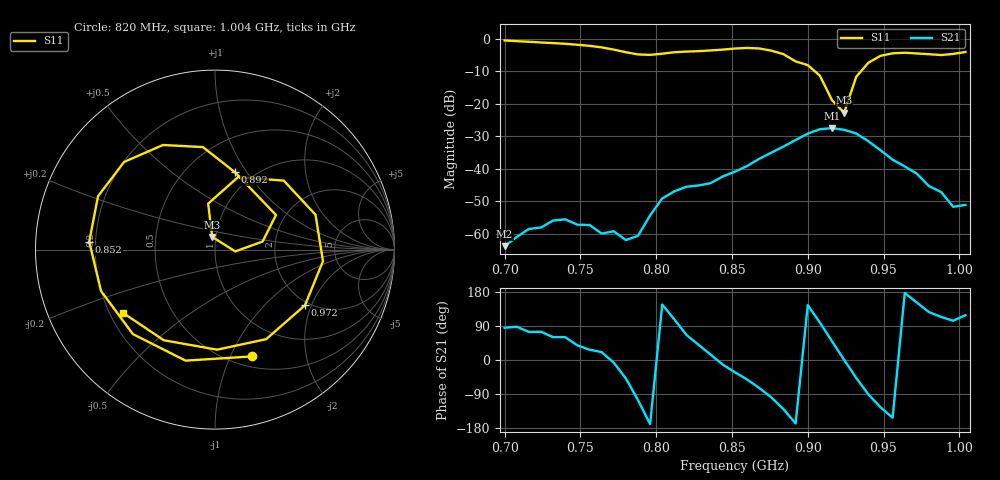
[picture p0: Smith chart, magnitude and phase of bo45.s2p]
# Hz S RI R 50
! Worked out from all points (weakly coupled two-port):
!   39 points, 700 MHz to 1.004 GHz, reference 50 ohm
!   highest |S21| = -27.49 dB at 916 MHz (marker M1); lowest = -63.7 dB at 700 MHz (marker M2)
!   lowest |S11| = -22.8 dB at 924 MHz (marker M3), VSWR 1.16, Z = 48 + j6.85 ohm
!   |S11| at or under -10 dB: 904.5 MHz to 935.2 MHz (30.7 MHz wide, 3.34 % of centre)
!   S12 and S22 are empty: the file has one direction only
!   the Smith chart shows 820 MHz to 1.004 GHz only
!   S11 on the Smith chart (normalised r, x): 820 MHz: 0.61, -1.21; 852 MHz: 0.18, +0.03; 892 MHz: 0.82, +0.88; 972 MHz: 1.89, -1.80; 1.004 GHz: 0.25, -0.29
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7e8  0.7664 0.5333  5.67e-05 0.000649  0 0  0 0
7.24e8  0.83 -0.2583  0.000337 0.00121  0 0  0 0
7.4e8  0.4434 -0.7013  0.000833 0.00146  0 0  0 0
7.56e8  -0.1999 -0.7458  0.00123 0.000631  0 0  0 0
7.72e8  -0.6532 -0.1741  0.00109 -0.000135  0 0  0 0
7.8e8  -0.5637 0.248  0.000533 -0.000608  0 0  0 0
7.88e8  -0.192 0.5367  -0.000256 -0.000904  0 0  0 0
8.04e8  0.5763 0.0999  -0.00293 0.00195  0 0  0 0
8.2e8  0.2059 -0.5952  0.00216 0.00487  0 0  0 0
8.36e8  -0.4576 -0.4706  0.00587 0.00146  0 0  0 0
8.52e8  -0.7007 0.0439  0.00765 -0.00486  0 0  0 0
8.76e8  -0.2896 0.5828  -0.0027 -0.0175  0 0  0 0
8.92e8  0.1114 0.4307  -0.027 -0.00604  0 0  0 0
9.08e8  0.2652 0.0448  -0.00616 0.0401  0 0  0 0
9.16e8  0.1127 -0.0101  0.0275 0.032  0 0  0 0
9.24e8  -0.0156 0.071  0.0397 0.000329  0 0  0 0
9.32e8  -0.0382 0.2561  0.0236 -0.0257  0 0  0 0
9.48e8  0.3835 0.384  -0.011 -0.0159  0 0  0 0
9.56e8  0.5599 0.1943  -0.0122 -0.00643  0 0  0 0
9.72e8  0.5014 -0.3099  -0.0074 0.00401  0 0  0 0
9.88e8  0.0115 -0.5576  -0.00177 0.00404  0 0  0 0
1.004e9  -0.5114 -0.353  -0.00132 0.00247  0 0  0 0
